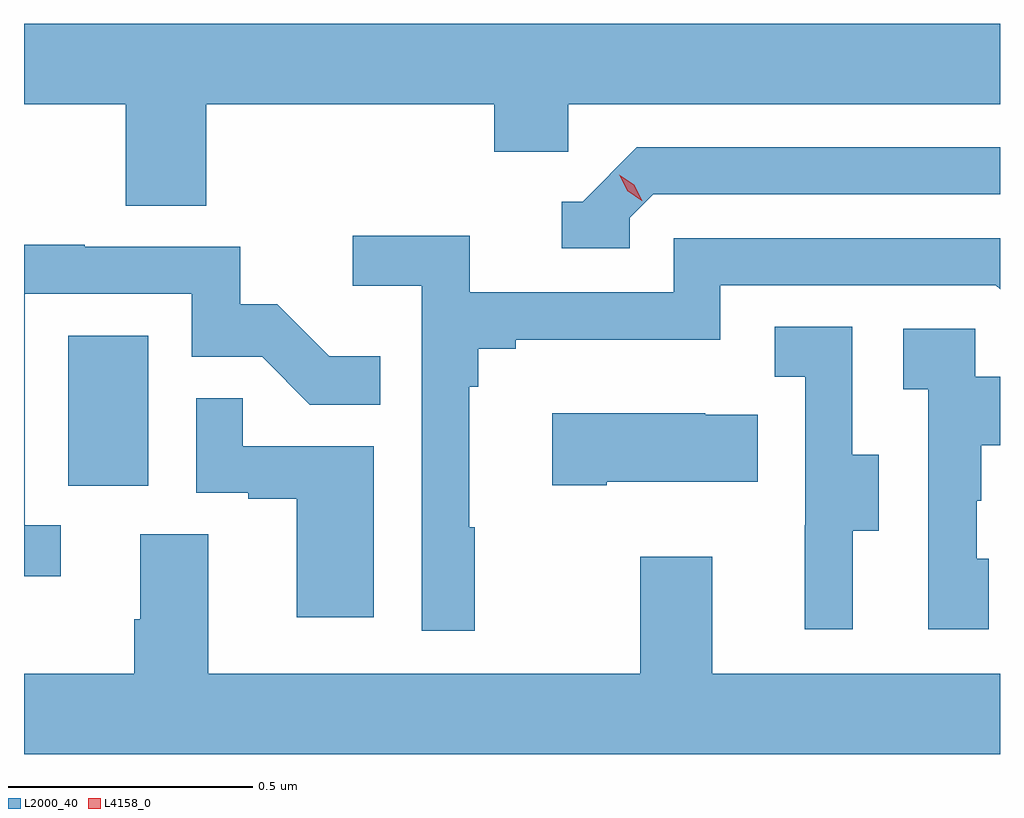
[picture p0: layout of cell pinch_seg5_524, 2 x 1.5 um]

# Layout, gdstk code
import gdstk
lib = gdstk.Library(unit=1e-6, precision=1e-09)
def R(c, l, rs):  # rectangles x0, y0, x1, y1
    for r in rs: c.add(gdstk.rectangle(r[:2], r[2:], *l))
def P(c, l, *ps):  # polygons
    for p in ps: c.add(gdstk.Polygon(p, *l))
L2000_40 = (2000, 40)
L4158_0 = (4158, 0)

pinch_seg5_524 = lib.new_cell('pinch_seg5_524')
R(pinch_seg5_524, L2000_40, [(929.222,841.326,929.386,841.633)])
P(pinch_seg5_524, L2000_40, [(929.504,842.108),(930.095,842.108),(930.095,842.01),(930.246,842.01),(930.246,842.108),(931.131,842.108),(931.131,842.272),(929.131,842.272),(929.131,842.108),(929.339,842.108),(929.339,841.9),(929.504,841.9)],
  [(930.372,841.875),(930.42,841.923),(931.131,841.923),(931.131,842.019),(930.387,842.019),(930.276,841.908),(930.233,841.908),(930.233,841.812),(930.372,841.812)],
  [(930.055,841.241),(930.043,841.241),(930.043,841.529),(930.062,841.529),(930.062,841.606),(930.139,841.606),(930.139,841.625),(930.558,841.625),(930.558,841.737),(931.122,841.737),(931.131,841.728),(931.131,841.833),(930.462,841.833),(930.462,841.722),(930.044,841.722),(930.044,841.838),(929.805,841.838),(929.805,841.736),(929.946,841.736),(929.946,841.029),(930.055,841.029)],
  [(929.206,841.245),(929.133,841.245),(929.133,841.719),(929.475,841.719),(929.475,841.59),(929.619,841.59),(929.717,841.492),(929.861,841.492),(929.861,841.591),(929.757,841.591),(929.65,841.698),(929.574,841.698),(929.574,841.815),(929.255,841.815),(929.255,841.82),(929.131,841.82),(929.131,841.14),(929.206,841.14)],
  [(930.829,841.234),(930.883,841.234),(930.883,841.389),(930.828,841.389),(930.828,841.652),(930.669,841.652),(930.669,841.549),(930.732,841.549),(930.732,841.245),(930.731,841.245),(930.731,841.032),(930.829,841.032)],
  [(931.108,841.176),(931.083,841.176),(931.083,841.295),(931.093,841.295),(931.093,841.409),(931.131,841.409),(931.131,841.549),(931.08,841.549),(931.08,841.647),(930.933,841.647),(930.933,841.523),(930.984,841.523),(930.984,841.032),(931.108,841.032)],
  [(929.848,841.407),(929.579,841.407),(929.579,841.505),(929.484,841.505),(929.484,841.311),(929.591,841.311),(929.591,841.299),(929.69,841.299),(929.69,841.056),(929.848,841.056)],
  [(930.325,841.334),(930.635,841.334),(930.635,841.471),(930.527,841.471),(930.527,841.474),(930.213,841.474),(930.213,841.327),(930.325,841.327)],
  [(931.131,840.94),(930.541,840.94),(930.541,841.18),(930.394,841.18),(930.394,840.94),(929.509,840.94),(929.509,841.226),(929.369,841.226),(929.369,841.052),(929.357,841.052),(929.357,840.94),(929.131,840.94),(929.131,840.776),(931.131,840.776)])
P(pinch_seg5_524, L4158_0, [(930.397,841.91),(930.367,841.93),(930.351,841.963),(930.351,841.963),(930.351,841.963),(930.382,841.943),(930.398,841.91),(930.398,841.91)])

lib.write_gds('pinch_seg5_524.gds')
